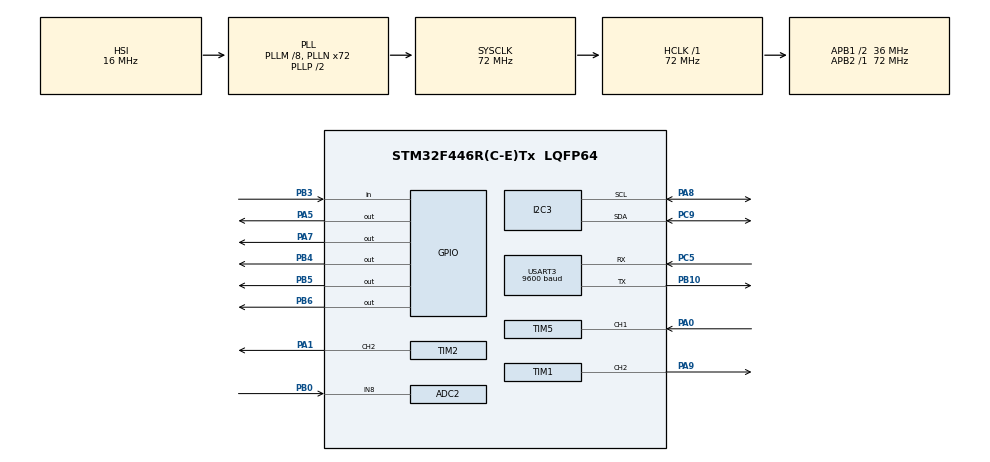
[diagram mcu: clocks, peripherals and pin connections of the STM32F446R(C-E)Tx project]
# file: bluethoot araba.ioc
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ADC2.Channel-0\#ChannelRegularConversion=ADC_CHANNEL_8
ADC2.ClockPrescaler=ADC_CLOCK_SYNC_PCLK_DIV4
ADC2.ContinuousConvMode=ENABLE
ADC2.NbrOfConversionFlag=1
ADC2.Rank-0\#ChannelRegularConversion=1
ADC2.SamplingTime-0\#ChannelRegularConversion=ADC_SAMPLETIME_3CYCLES
I2C3.AddressingMode=I2C_ADDRESSINGMODE_7BIT
I2C3.I2C_Mode=I2C_Fast
Mcu.Family=STM32F4
Mcu.Name=STM32F446R(C-E)Tx
Mcu.Package=LQFP64
NVIC.PriorityGroup=NVIC_PRIORITYGROUP_4
NVIC.TIM3_IRQn=true\:0\:0\:false\:false\:true\:true\:true\:true
NVIC.USART3_IRQn=true\:0\:0\:false\:false\:true\:true\:true\:true
PA0-WKUP.Signal=S_TIM5_CH1
PA1.Signal=S_TIM2_CH2
PA13.Mode=Serial_Wire
PA13.Signal=SYS_JTMS-SWDIO
PA14.Mode=Serial_Wire
PA14.Signal=SYS_JTCK-SWCLK
PA5.Signal=GPIO_Output
PA7.Signal=GPIO_Output
PA8.Mode=I2C
PA8.Signal=I2C3_SCL
PA9.Signal=S_TIM1_CH2
PB0.Signal=ADCx_IN8
PB10.Mode=Asynchronous
PB10.Signal=USART3_TX
PB3.GPIO_PuPd=GPIO_PULLDOWN
PB3.Signal=GPIO_Input
PB4.Signal=GPIO_Output
PB5.Signal=GPIO_Output
PB6.Signal=GPIO_Output
PC14-OSC32_IN.Mode=LSE-External-Oscillator
PC14-OSC32_IN.Signal=RCC_OSC32_IN
PC15-OSC32_OUT.Mode=LSE-External-Oscillator
PC15-OSC32_OUT.Signal=RCC_OSC32_OUT
PC5.GPIO_PuPd=GPIO_PULLUP
PC5.Mode=Asynchronous
PC5.Signal=USART3_RX
PC9.Mode=I2C
PC9.Signal=I2C3_SDA
PH0-OSC_IN.Mode=HSE-External-Oscillator
PH0-OSC_IN.Signal=RCC_OSC_IN
PH1-OSC_OUT.Mode=HSE-External-Oscillator
PH1-OSC_OUT.Signal=RCC_OSC_OUT
ProjectManager.HeapSize=0x200
ProjectManager.StackSize=0x400
ProjectManager.TargetToolchain=STM32CubeIDE
RCC.AHBFreq_Value=72000000
RCC.APB1CLKDivider=RCC_HCLK_DIV2
RCC.APB1Freq_Value=36000000
RCC.APB1TimFreq_Value=72000000
RCC.APB2Freq_Value=72000000
RCC.APB2TimFreq_Value=72000000
RCC.CortexFreq_Value=72000000
RCC.HCLKFreq_Value=72000000
RCC.PLLM=8
RCC.PLLN=72
RCC.RCC_RTC_Clock_SourceVirtual=RCC_RTCCLKSOURCE_LSE
RCC.SYSCLKFreq_VALUE=72000000
RCC.SYSCLKSource=RCC_SYSCLKSOURCE_PLLCLK
RCC.USBFreq_Value=72000000
RCC.VCOOutputFreq_Value=144000000
RTC.Format=RTC_FORMAT_BIN
RTC.Hours=10
RTC.Minutes=12
RTC.Year=22
SH.ADCx_IN8.0=ADC2_IN8,IN8
SH.S_TIM1_CH2.0=TIM1_CH2,PWM Generation2 CH2
SH.S_TIM2_CH2.0=TIM2_CH2,PWM Generation2 CH2
SH.S_TIM5_CH1.0=TIM5_CH1,TriggerSource_TI1FP1
TIM1.Channel-PWM\ Generation2\ CH2=TIM_CHANNEL_2
TIM1.Period=625
TIM1.Prescaler=127
TIM2.Channel-PWM\ Generation2\ CH2=TIM_CHANNEL_2
TIM2.Period=625
TIM2.Prescaler=127
TIM3.AutoReloadPreload=TIM_AUTORELOAD_PRELOAD_ENABLE
TIM3.Period=2000
TIM3.Prescaler=35999
TIM5.Slave_TriggerFilter=15
USART3.BaudRate=9600
USART3.VirtualMode=VM_ASYNC
VP_RTC_VS_RTC_Activate.Mode=RTC_Enabled
VP_RTC_VS_RTC_Calendar.Mode=RTC_Calendar
VP_TIM1_VS_ClockSourceINT.Mode=Internal
VP_TIM2_VS_ClockSourceINT.Mode=Internal
VP_TIM3_VS_ClockSourceINT.Mode=Internal
VP_TIM5_VS_ControllerModeClock.Mode=Clock Mode
board=custom

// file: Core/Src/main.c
/* USER CODE BEGIN Header */
/**
  ******************************************************************************
  * @file           : main.c
  * @brief          : Main program body
  ******************************************************************************
  * @attention
  *
  * Copyright (c) 2022 STMicroelectronics.
  * All rights reserved.
  *
  * This software is licensed under terms that can be found in the LICENSE file
  * in the root directory of this software component.
  * If no LICENSE file comes with this software, it is provided AS-IS.
  *
  ******************************************************************************
  */
/* USER CODE END Header */
#include "main.h"

/* USER CODE BEGIN Includes */
#include "dwt_stm32_delay.h"
int count_TIM3,count,hiz,count_old,rpm;
uint32_t adc_value,pulse;

float distance,way;
char name[32];
RTC_TimeTypeDef sTime;
RTC_DateTypeDef DatatoUpdate;
uint16_t gun,ay,yil;
uint16_t saat,dakika,saniye;

/* USER CODE END Includes */

/* USER CODE BEGIN PTD */
float hcSr04_read()
{
	uint32_t  time=0;
	float distance_temp=0;
	HAL_GPIO_WritePin(GPIOB,GPIO_PIN_4,GPIO_PIN_RESET);
	DWT_Delay_us(10);
	HAL_GPIO_WritePin(GPIOB,GPIO_PIN_4,GPIO_PIN_SET);
	DWT_Delay_us(10);
	HAL_GPIO_WritePin(GPIOB,GPIO_PIN_4,GPIO_PIN_RESET);
	DWT_Delay_us(10);
	while(!HAL_GPIO_ReadPin(GPIOB,GPIO_PIN_3));
	while(HAL_GPIO_ReadPin(GPIOB,GPIO_PIN_3))
	{

		time++;
		DWT_Delay_us(1);
	}
	distance_temp=(float) time/29.1;
	HAL_Delay(50);
	return distance_temp;

}

/* USER CODE END PTD */

 ADC_HandleTypeDef hadc2;

I2C_HandleTypeDef hi2c3;

RTC_HandleTypeDef hrtc;

TIM_HandleTypeDef htim1;
TIM_HandleTypeDef htim2;
TIM_HandleTypeDef htim3;
TIM_HandleTypeDef htim5;

UART_HandleTypeDef huart3;

void SystemClock_Config(void);
static void MX_GPIO_Init(void);
static void MX_I2C3_Init(void);
static void MX_RTC_Init(void);
static void MX_TIM2_Init(void);
static void MX_TIM3_Init(void);
static void MX_TIM5_Init(void);
static void MX_ADC2_Init(void);
static void MX_USART3_UART_Init(void);
static void MX_TIM1_Init(void);

/* USER CODE BEGIN 0 */
void HAL_TIM_PeriodElapsedCallback(TIM_HandleTypeDef *htim){

	 count_TIM3=__HAL_TIM_GetCounter(&htim3);
	 rpm=60*(count-count_old)/20;
	 hiz=2*3.14*0.03*60*(count-count_old)/20;
	 way=way+2*3.14*0.03*(count-count_old)/20;
	 count_old=count;

	 lcd_send_cmd(0xC0);
		  	 lcd_send_string("HIZ");
		  sprintf (name,":%0.2d",hiz);
		  	  lcd_send_cmd(0xC3);
		  	lcd_send_string(name);
		  	 lcd_send_cmd(0xC6);
		  			  	 lcd_send_string("m/DK");

		  			   sprintf (name,"%1.1f",way);
		  			  	  lcd_send_cmd(0xCB);
		  			  	lcd_send_string(name);
		  			  lcd_send_cmd(0xCF);
		  			 lcd_send_string("m");

}
void Read_ADC()
{
	HAL_ADC_Start(&hadc2);
	if(HAL_ADC_PollForConversion(&hadc2,100000) == HAL_OK){

		adc_value= HAL_ADC_GetValue(&hadc2);

	}
	HAL_ADC_Stop(&hadc2);
}
uint16_t map(int a,int b,int c, int d,int e){
	return (a-b) * (e-d) / (c-b ) + d;
}
char tx_buff[50],rx_buff[50];
/* USER CODE END 0 */

int main(void)
{

  /* MCU Configuration--------------------------------------------------------*/

  /* Reset of all peripherals, Initializes the Flash interface and the Systick. */
  HAL_Init();

  /* Configure the system clock */
  SystemClock_Config();

  /* Initialize all configured peripherals */
  MX_GPIO_Init();
  MX_I2C3_Init();
  MX_RTC_Init();
  MX_TIM2_Init();
  MX_TIM3_Init();
  MX_TIM5_Init();
  MX_ADC2_Init();
  MX_USART3_UART_Init();
  MX_TIM1_Init();
  /* USER CODE BEGIN 2 */
  DWT_Delay_Init();
	 HAL_TIM_PWM_Start(&htim2, TIM_CHANNEL_2); //PA1 TIM2 CH2
	 HAL_TIM_PWM_Start(&htim1, TIM_CHANNEL_2);
	  	     int speed=0;
	  	     HAL_GPIO_WritePin(GPIOA, GPIO_PIN_7, 0);
	  	     HAL_GPIO_WritePin(GPIOA, GPIO_PIN_5, 0);
	  	     HAL_GPIO_WritePin(GPIOB, GPIO_PIN_6, 0);
	  	       HAL_GPIO_WritePin(GPIOB, GPIO_PIN_5, 0);

	  	     MX_GPIO_Init();
	  	     MX_RTC_Init();
	  	     MX_I2C3_Init();
	  	     /* USER CODE BEGIN 2 */
	  	     lcd_init();
	  	     	  lcd_send_string("ali");

	  	     	    HAL_Delay(1000);
	  	     	    lcd_send_cmd(0x01);	// Clear Display
	  	     	    HAL_Delay(100);

  HAL_TIM_Base_Start_IT(&htim3);
  HAL_TIM_Base_Start_IT(&htim5);

  /* USER CODE END 2 */

  /* Infinite loop */
  /* USER CODE BEGIN WHILE */
  while (1)
  {
	  distance=hcSr04_read();
	  HAL_UART_Receive(&huart3,(uint8_t*)rx_buff,50,10);

	  count_TIM3=__HAL_TIM_GetCounter(&htim3); //internal clock
	  count=__HAL_TIM_GetCounter(&htim5);    //externalclock

	  		 	  	speed =400;
	  		 	  Read_ADC();
	  		 	 pulse=map(adc_value,0,4095,0,627);

	  		 	if(rx_buff[0]=='a'){
	  		 		  		 	  		  	  	  speed =500;
	  		 		  		 	  		  	   HAL_GPIO_WritePin(GPIOA, GPIO_PIN_7, 1);
	  		 		  		 	  		  	   HAL_GPIO_WritePin(GPIOA, GPIO_PIN_5, 0);
	  		 		  		 	  		  	  HAL_GPIO_WritePin(GPIOB, GPIO_PIN_6, 0);
	  		 		  		 	  		  	   HAL_GPIO_WritePin(GPIOB, GPIO_PIN_5, 1);
	  		 		  		 	  		  __HAL_TIM_SET_COMPARE(&htim2,TIM_CHANNEL_2, pulse);
	  		 		  		 	  		  	    __HAL_TIM_SET_COMPARE(&htim1,TIM_CHANNEL_2, pulse);

	  		 		  		 	  		  	  	  	  	     	  	  	  		}
	  		 	else if(rx_buff[0]=='b'){
	  		 		  		 	  		  	  	  	speed = 500;
	  		 		  		 	  		  	  	   HAL_GPIO_WritePin(GPIOA, GPIO_PIN_7, 1);
	  		 		  		 	  		  	  	   HAL_GPIO_WritePin(GPIOA, GPIO_PIN_5, 0);
	  		 		  		 	  		  	 	HAL_GPIO_WritePin(GPIOB, GPIO_PIN_6, 1);
	  		 		  		 	  		    HAL_GPIO_WritePin(GPIOB, GPIO_PIN_5, 0);
	  		 		  		 	  		  __HAL_TIM_SET_COMPARE(&htim2,TIM_CHANNEL_2, pulse);
	  		 		  		 	  		    __HAL_TIM_SET_COMPARE(&htim1,TIM_CHANNEL_2, pulse);

	  		 		  		 	  		  	  	  	 }
	  		 	else  if(rx_buff[0]=='c'){
	  		 		  		 	  			  	  	speed = 500;
	  		 		  		 	  		 	  	   HAL_GPIO_WritePin(GPIOA, GPIO_PIN_7, 0);
	  		 		  		 	  	  	   HAL_GPIO_WritePin(GPIOA, GPIO_PIN_5, 1);
	  		 		  		 	  	  	 	HAL_GPIO_WritePin(GPIOB, GPIO_PIN_6, 0);
	  		 		  		 	  		    HAL_GPIO_WritePin(GPIOB, GPIO_PIN_5, 1);
	  		 		  		 	  		  __HAL_TIM_SET_COMPARE(&htim2,TIM_CHANNEL_2, pulse);
	  		 		  		 	  		   __HAL_TIM_SET_COMPARE(&htim1,TIM_CHANNEL_2, pulse);

	  		 		  		 	  			  		 	  		  	  	  	 }
	  		 	else  if(rx_buff[0]=='d'){
	  		 		  		 	  		speed = 500;
	  		 		  		 	 	   HAL_GPIO_WritePin(GPIOA, GPIO_PIN_7, 0);
	  		 		  		 		   HAL_GPIO_WritePin(GPIOA, GPIO_PIN_5, 1);
	  		 		  		 	HAL_GPIO_WritePin(GPIOB, GPIO_PIN_6, 1);
	  		 		  		   HAL_GPIO_WritePin(GPIOB, GPIO_PIN_5, 0);
	  		 		  		  __HAL_TIM_SET_COMPARE(&htim2,TIM_CHANNEL_2, pulse);
	  		 		  		 	  __HAL_TIM_SET_COMPARE(&htim1,TIM_CHANNEL_2, pulse);

	  		 		  		 	  		  		 	  		  	  	  	 }
	  		 		  		 	  	 else{
	  		 		  		 	  	HAL_GPIO_WritePin(GPIOA, GPIO_PIN_7, 0);
	  		 		  		 	  		  		 		   HAL_GPIO_WritePin(GPIOA, GPIO_PIN_5, 0);
	  		 		  		 	  		  		 	HAL_GPIO_WritePin(GPIOB, GPIO_PIN_6, 0);
	  		 		  		 	  		  		   HAL_GPIO_WritePin(GPIOB, GPIO_PIN_5, 0);
	  		 		  		 	  		  		  __HAL_TIM_SET_COMPARE(&htim2,TIM_CHANNEL_2, pulse);
	  		 		  		 	  		  		 	  __HAL_TIM_SET_COMPARE(&htim1,TIM_CHANNEL_2, pulse);
	  		 		  		 	  	 }

	  		 	  		  	  HAL_RTC_GetTime(&hrtc,&sTime,RTC_FORMAT_BIN);
	  		 	  		  	  HAL_RTC_GetDate(&hrtc,&DatatoUpdate,RTC_FORMAT_BIN);
	  		 	  		  	  saat=sTime.Hours;
	  		 	  		  	  dakika=sTime.Minutes;
	  		 	  		  	  saniye=sTime.Seconds;

	  		 	  		 sprintf (name,"%0.2d:%0.2d",saat,dakika);
	  		 	  			   lcd_send_cmd(0x80);
	  		 	  			   lcd_send_string(name);

	  		 	  			   gun=DatatoUpdate.Date;
	  		 	  			   ay=DatatoUpdate.Month;
	  		 	  			   yil=DatatoUpdate.Year;

	  		 	  			   sprintf (name,"%0.2d/%0.2d/%0.2d",gun,ay,yil);
	  		 	  			   lcd_send_cmd(0x88);
	  		 	  			   	   lcd_send_string(name);

    /* USER CODE END WHILE */

    /* USER CODE BEGIN 3 */

		 	  	    /* USER CODE BEGIN 3 */
		 	  	  }
  /* USER CODE END 3 */
}

void SystemClock_Config(void)
{
  RCC_OscInitTypeDef RCC_OscInitStruct = {0};
  RCC_ClkInitTypeDef RCC_ClkInitStruct = {0};

  /** Configure the main internal regulator output voltage
  */
  __HAL_RCC_PWR_CLK_ENABLE();
  __HAL_PWR_VOLTAGESCALING_CONFIG(PWR_REGULATOR_VOLTAGE_SCALE3);

  /** Initializes the RCC Oscillators according to the specified parameters
  * in the RCC_OscInitTypeDef structure.
  */
  RCC_OscInitStruct.OscillatorType = RCC_OSCILLATORTYPE_HSI|RCC_OSCILLATORTYPE_LSE;
  RCC_OscInitStruct.LSEState = RCC_LSE_ON;
  RCC_OscInitStruct.HSIState = RCC_HSI_ON;
  RCC_OscInitStruct.HSICalibrationValue = RCC_HSICALIBRATION_DEFAULT;
  RCC_OscInitStruct.PLL.PLLState = RCC_PLL_ON;
  RCC_OscInitStruct.PLL.PLLSource = RCC_PLLSOURCE_HSI;
  RCC_OscInitStruct.PLL.PLLM = 8;
  RCC_OscInitStruct.PLL.PLLN = 72;
  RCC_OscInitStruct.PLL.PLLP = RCC_PLLP_DIV2;
  RCC_OscInitStruct.PLL.PLLQ = 2;
  RCC_OscInitStruct.PLL.PLLR = 2;
  if (HAL_RCC_OscConfig(&RCC_OscInitStruct) != HAL_OK)
  {
    Error_Handler();
  }

  /** Initializes the CPU, AHB and APB buses clocks
  */
  RCC_ClkInitStruct.ClockType = RCC_CLOCKTYPE_HCLK|RCC_CLOCKTYPE_SYSCLK
                              |RCC_CLOCKTYPE_PCLK1|RCC_CLOCKTYPE_PCLK2;
  RCC_ClkInitStruct.SYSCLKSource = RCC_SYSCLKSOURCE_PLLCLK;
  RCC_ClkInitStruct.AHBCLKDivider = RCC_SYSCLK_DIV1;
  RCC_ClkInitStruct.APB1CLKDivider = RCC_HCLK_DIV2;
  RCC_ClkInitStruct.APB2CLKDivider = RCC_HCLK_DIV1;

  if (HAL_RCC_ClockConfig(&RCC_ClkInitStruct, FLASH_LATENCY_2) != HAL_OK)
  {
    Error_Handler();
  }
}

static void MX_ADC2_Init(void)
{

  ADC_ChannelConfTypeDef sConfig = {0};

  /** Configure the global features of the ADC (Clock, Resolution, Data Alignment and number of conversion)
  */
  hadc2.Instance = ADC2;
  hadc2.Init.ClockPrescaler = ADC_CLOCK_SYNC_PCLK_DIV4;
  hadc2.Init.Resolution = ADC_RESOLUTION_12B;
  hadc2.Init.ScanConvMode = DISABLE;
  hadc2.Init.ContinuousConvMode = ENABLE;
  hadc2.Init.DiscontinuousConvMode = DISABLE;
  hadc2.Init.ExternalTrigConvEdge = ADC_EXTERNALTRIGCONVEDGE_NONE;
  hadc2.Init.ExternalTrigConv = ADC_SOFTWARE_START;
  hadc2.Init.DataAlign = ADC_DATAALIGN_RIGHT;
  hadc2.Init.NbrOfConversion = 1;
  hadc2.Init.DMAContinuousRequests = DISABLE;
  hadc2.Init.EOCSelection = ADC_EOC_SINGLE_CONV;
  if (HAL_ADC_Init(&hadc2) != HAL_OK)
  {
    Error_Handler();
  }

  /** Configure for the selected ADC regular channel its corresponding rank in the sequencer and its sample time.
  */
  sConfig.Channel = ADC_CHANNEL_8;
  sConfig.Rank = 1;
  sConfig.SamplingTime = ADC_SAMPLETIME_3CYCLES;
  if (HAL_ADC_ConfigChannel(&hadc2, &sConfig) != HAL_OK)
  {
    Error_Handler();
  }

}

static void MX_I2C3_Init(void)
{

  hi2c3.Instance = I2C3;
  hi2c3.Init.ClockSpeed = 400000;
  hi2c3.Init.DutyCycle = I2C_DUTYCYCLE_2;
  hi2c3.Init.OwnAddress1 = 0;
  hi2c3.Init.AddressingMode = I2C_ADDRESSINGMODE_7BIT;
  hi2c3.Init.DualAddressMode = I2C_DUALADDRESS_DISABLE;
  hi2c3.Init.OwnAddress2 = 0;
  hi2c3.Init.GeneralCallMode = I2C_GENERALCALL_DISABLE;
  hi2c3.Init.NoStretchMode = I2C_NOSTRETCH_DISABLE;
  if (HAL_I2C_Init(&hi2c3) != HAL_OK)
  {
    Error_Handler();
  }

}

static void MX_RTC_Init(void)
{

  RTC_TimeTypeDef sTime = {0};
  RTC_DateTypeDef sDate = {0};

  /** Initialize RTC Only
  */
  hrtc.Instance = RTC;
  hrtc.Init.HourFormat = RTC_HOURFORMAT_24;
  hrtc.Init.AsynchPrediv = 127;
  hrtc.Init.SynchPrediv = 255;
  hrtc.Init.OutPut = RTC_OUTPUT_DISABLE;
  hrtc.Init.OutPutPolarity = RTC_OUTPUT_POLARITY_HIGH;
  hrtc.Init.OutPutType = RTC_OUTPUT_TYPE_OPENDRAIN;
  if (HAL_RTC_Init(&hrtc) != HAL_OK)
  {
    Error_Handler();
  }

  /** Initialize RTC and set the Time and Date
  */
  sTime.Hours = 10;
  sTime.Minutes = 12;
  sTime.Seconds = 0;
  sTime.DayLightSaving = RTC_DAYLIGHTSAVING_NONE;
  sTime.StoreOperation = RTC_STOREOPERATION_RESET;
  if (HAL_RTC_SetTime(&hrtc, &sTime, RTC_FORMAT_BIN) != HAL_OK)
  {
    Error_Handler();
  }
  sDate.WeekDay = RTC_WEEKDAY_MONDAY;
  sDate.Month = RTC_MONTH_JANUARY;
  sDate.Date = 1;
  sDate.Year = 22;

  if (HAL_RTC_SetDate(&hrtc, &sDate, RTC_FORMAT_BIN) != HAL_OK)
  {
    Error_Handler();
  }

}

static void MX_TIM1_Init(void)
{

  TIM_ClockConfigTypeDef sClockSourceConfig = {0};
  TIM_MasterConfigTypeDef sMasterConfig = {0};
  TIM_OC_InitTypeDef sConfigOC = {0};
  TIM_BreakDeadTimeConfigTypeDef sBreakDeadTimeConfig = {0};

  htim1.Instance = TIM1;
  htim1.Init.Prescaler = 127;
  htim1.Init.CounterMode = TIM_COUNTERMODE_UP;
  htim1.Init.Period = 625;
  htim1.Init.ClockDivision = TIM_CLOCKDIVISION_DIV1;
  htim1.Init.RepetitionCounter = 0;
  htim1.Init.AutoReloadPreload = TIM_AUTORELOAD_PRELOAD_DISABLE;
  if (HAL_TIM_Base_Init(&htim1) != HAL_OK)
  {
    Error_Handler();
  }
  sClockSourceConfig.ClockSource = TIM_CLOCKSOURCE_INTERNAL;
  if (HAL_TIM_ConfigClockSource(&htim1, &sClockSourceConfig) != HAL_OK)
  {
    Error_Handler();
  }
  if (HAL_TIM_PWM_Init(&htim1) != HAL_OK)
  {
    Error_Handler();
  }
  sMasterConfig.MasterOutputTrigger = TIM_TRGO_RESET;
  sMasterConfig.MasterSlaveMode = TIM_MASTERSLAVEMODE_DISABLE;
  if (HAL_TIMEx_MasterConfigSynchronization(&htim1, &sMasterConfig) != HAL_OK)
  {
    Error_Handler();
  }
  sConfigOC.OCMode = TIM_OCMODE_PWM1;
  sConfigOC.Pulse = 0;
  sConfigOC.OCPolarity = TIM_OCPOLARITY_HIGH;
  sConfigOC.OCNPolarity = TIM_OCNPOLARITY_HIGH;
  sConfigOC.OCFastMode = TIM_OCFAST_DISABLE;
  sConfigOC.OCIdleState = TIM_OCIDLESTATE_RESET;
  sConfigOC.OCNIdleState = TIM_OCNIDLESTATE_RESET;
  if (HAL_TIM_PWM_ConfigChannel(&htim1, &sConfigOC, TIM_CHANNEL_2) != HAL_OK)
  {
    Error_Handler();
  }
  sBreakDeadTimeConfig.OffStateRunMode = TIM_OSSR_DISABLE;
  sBreakDeadTimeConfig.OffStateIDLEMode = TIM_OSSI_DISABLE;
  sBreakDeadTimeConfig.LockLevel = TIM_LOCKLEVEL_OFF;
  sBreakDeadTimeConfig.DeadTime = 0;
  sBreakDeadTimeConfig.BreakState = TIM_BREAK_DISABLE;
  sBreakDeadTimeConfig.BreakPolarity = TIM_BREAKPOLARITY_HIGH;
  sBreakDeadTimeConfig.AutomaticOutput = TIM_AUTOMATICOUTPUT_DISABLE;
  if (HAL_TIMEx_ConfigBreakDeadTime(&htim1, &sBreakDeadTimeConfig) != HAL_OK)
  {
    Error_Handler();
  }
  HAL_TIM_MspPostInit(&htim1);

}

static void MX_TIM2_Init(void)
{

  TIM_ClockConfigTypeDef sClockSourceConfig = {0};
  TIM_MasterConfigTypeDef sMasterConfig = {0};
  TIM_OC_InitTypeDef sConfigOC = {0};

  htim2.Instance = TIM2;
  htim2.Init.Prescaler = 127;
  htim2.Init.CounterMode = TIM_COUNTERMODE_UP;
  htim2.Init.Period = 625;
  htim2.Init.ClockDivision = TIM_CLOCKDIVISION_DIV1;
  htim2.Init.AutoReloadPreload = TIM_AUTORELOAD_PRELOAD_DISABLE;
  if (HAL_TIM_Base_Init(&htim2) != HAL_OK)
  {
    Error_Handler();
  }
  sClockSourceConfig.ClockSource = TIM_CLOCKSOURCE_INTERNAL;
  if (HAL_TIM_ConfigClockSource(&htim2, &sClockSourceConfig) != HAL_OK)
  {
    Error_Handler();
  }
  if (HAL_TIM_PWM_Init(&htim2) != HAL_OK)
  {
    Error_Handler();
  }
  sMasterConfig.MasterOutputTrigger = TIM_TRGO_RESET;
  sMasterConfig.MasterSlaveMode = TIM_MASTERSLAVEMODE_DISABLE;
  if (HAL_TIMEx_MasterConfigSynchronization(&htim2, &sMasterConfig) != HAL_OK)
  {
    Error_Handler();
  }
  sConfigOC.OCMode = TIM_OCMODE_PWM1;
  sConfigOC.Pulse = 0;
  sConfigOC.OCPolarity = TIM_OCPOLARITY_HIGH;
  sConfigOC.OCFastMode = TIM_OCFAST_DISABLE;
  if (HAL_TIM_PWM_ConfigChannel(&htim2, &sConfigOC, TIM_CHANNEL_2) != HAL_OK)
  {
    Error_Handler();
  }
  HAL_TIM_MspPostInit(&htim2);

}

static void MX_TIM3_Init(void)
{

  TIM_ClockConfigTypeDef sClockSourceConfig = {0};
  TIM_MasterConfigTypeDef sMasterConfig = {0};

  htim3.Instance = TIM3;
  htim3.Init.Prescaler = 35999;
  htim3.Init.CounterMode = TIM_COUNTERMODE_UP;
  htim3.Init.Period = 2000;
  htim3.Init.ClockDivision = TIM_CLOCKDIVISION_DIV1;
  htim3.Init.AutoReloadPreload = TIM_AUTORELOAD_PRELOAD_ENABLE;
  if (HAL_TIM_Base_Init(&htim3) != HAL_OK)
  {
    Error_Handler();
  }
  sClockSourceConfig.ClockSource = TIM_CLOCKSOURCE_INTERNAL;
  if (HAL_TIM_ConfigClockSource(&htim3, &sClockSourceConfig) != HAL_OK)
  {
    Error_Handler();
  }
  sMasterConfig.MasterOutputTrigger = TIM_TRGO_RESET;
  sMasterConfig.MasterSlaveMode = TIM_MASTERSLAVEMODE_DISABLE;
  if (HAL_TIMEx_MasterConfigSynchronization(&htim3, &sMasterConfig) != HAL_OK)
  {
    Error_Handler();
  }

}

static void MX_TIM5_Init(void)
{

  TIM_SlaveConfigTypeDef sSlaveConfig = {0};
  TIM_MasterConfigTypeDef sMasterConfig = {0};

  htim5.Instance = TIM5;
  htim5.Init.Prescaler = 0;
  htim5.Init.CounterMode = TIM_COUNTERMODE_UP;
  htim5.Init.Period = 4294967295;
  htim5.Init.ClockDivision = TIM_CLOCKDIVISION_DIV1;
  htim5.Init.AutoReloadPreload = TIM_AUTORELOAD_PRELOAD_DISABLE;
  if (HAL_TIM_Base_Init(&htim5) != HAL_OK)
  {
    Error_Handler();
  }
  sSlaveConfig.SlaveMode = TIM_SLAVEMODE_EXTERNAL1;
  sSlaveConfig.InputTrigger = TIM_TS_TI1FP1;
  sSlaveConfig.TriggerPolarity = TIM_TRIGGERPOLARITY_RISING;
  sSlaveConfig.TriggerFilter = 15;
  if (HAL_TIM_SlaveConfigSynchro(&htim5, &sSlaveConfig) != HAL_OK)
  {
    Error_Handler();
  }
  sMasterConfig.MasterOutputTrigger = TIM_TRGO_RESET;
  sMasterConfig.MasterSlaveMode = TIM_MASTERSLAVEMODE_DISABLE;
  if (HAL_TIMEx_MasterConfigSynchronization(&htim5, &sMasterConfig) != HAL_OK)
  {
    Error_Handler();
  }

}

static void MX_USART3_UART_Init(void)
{

  huart3.Instance = USART3;
  huart3.Init.BaudRate = 9600;
  huart3.Init.WordLength = UART_WORDLENGTH_8B;
  huart3.Init.StopBits = UART_STOPBITS_1;
  huart3.Init.Parity = UART_PARITY_NONE;
  huart3.Init.Mode = UART_MODE_TX_RX;
  huart3.Init.HwFlowCtl = UART_HWCONTROL_NONE;
  huart3.Init.OverSampling = UART_OVERSAMPLING_16;
  if (HAL_UART_Init(&huart3) != HAL_OK)
  {
    Error_Handler();
  }

}

static void MX_GPIO_Init(void)
{
  GPIO_InitTypeDef GPIO_InitStruct = {0};

  /* GPIO Ports Clock Enable */
  __HAL_RCC_GPIOC_CLK_ENABLE();
  __HAL_RCC_GPIOH_CLK_ENABLE();
  __HAL_RCC_GPIOA_CLK_ENABLE();
  __HAL_RCC_GPIOB_CLK_ENABLE();

  /*Configure GPIO pin Output Level */
  HAL_GPIO_WritePin(GPIOA, GPIO_PIN_5|GPIO_PIN_7, GPIO_PIN_RESET);

  /*Configure GPIO pin Output Level */
  HAL_GPIO_WritePin(GPIOB, GPIO_PIN_4|GPIO_PIN_5|GPIO_PIN_6, GPIO_PIN_RESET);

  /*Configure GPIO pins : PA5 PA7 */
  GPIO_InitStruct.Pin = GPIO_PIN_5|GPIO_PIN_7;
  GPIO_InitStruct.Mode = GPIO_MODE_OUTPUT_PP;
  GPIO_InitStruct.Pull = GPIO_NOPULL;
  GPIO_InitStruct.Speed = GPIO_SPEED_FREQ_LOW;
  HAL_GPIO_Init(GPIOA, &GPIO_InitStruct);

  /*Configure GPIO pin : PB3 */
  GPIO_InitStruct.Pin = GPIO_PIN_3;
  GPIO_InitStruct.Mode = GPIO_MODE_INPUT;
  GPIO_InitStruct.Pull = GPIO_PULLDOWN;
  HAL_GPIO_Init(GPIOB, &GPIO_InitStruct);

  /*Configure GPIO pins : PB4 PB5 PB6 */
  GPIO_InitStruct.Pin = GPIO_PIN_4|GPIO_PIN_5|GPIO_PIN_6;
  GPIO_InitStruct.Mode = GPIO_MODE_OUTPUT_PP;
  GPIO_InitStruct.Pull = GPIO_NOPULL;
  GPIO_InitStruct.Speed = GPIO_SPEED_FREQ_LOW;
  HAL_GPIO_Init(GPIOB, &GPIO_InitStruct);

}

void Error_Handler(void)
{
  __disable_irq();
  while (1)
  {
  }
}
